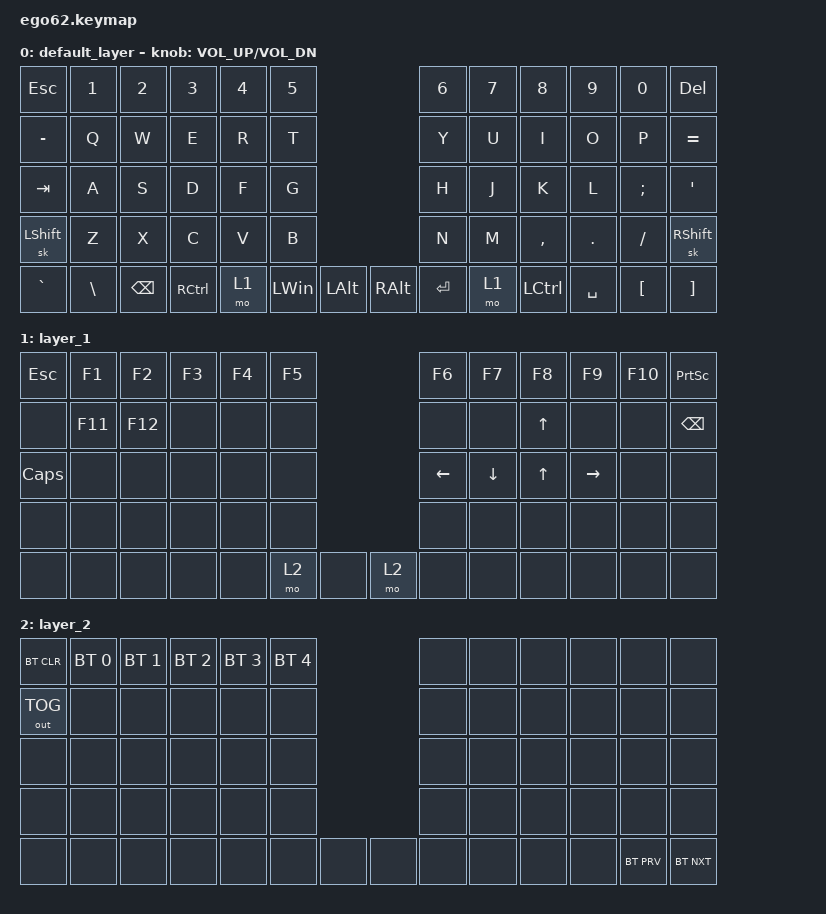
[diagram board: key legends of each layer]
/*
 * Copyright (c) 2020 The ZMK Contributors
 *
 * SPDX-License-Identifier: MIT
 */

#include <behaviors.dtsi>
#include <dt-bindings/zmk/bt.h>
#include <dt-bindings/zmk/keys.h>
#include <dt-bindings/zmk/outputs.h>

/ {
    combos {
        compatible = "zmk,combos";

        esc {
            bindings = <&kp ESCAPE>;
            key-positions = <51 58>;
            layers = <0>;
        };
    };

    keymap {
        compatible = "zmk,keymap";

        default_layer {
            bindings = <
&kp ESCAPE  &kp N1         &kp N2         &kp N3             &kp N4  &kp N5                                     &kp N6     &kp N7  &kp N8            &kp N9     &kp N0         &kp DEL
&kp MINUS   &kp Q          &kp W          &kp E              &kp R   &kp T                                      &kp Y      &kp U   &kp I             &kp O      &kp P          &kp EQUAL
&kp TAB     &kp A          &kp S          &kp D              &kp F   &kp G                                      &kp H      &kp J   &kp K             &kp L      &kp SEMICOLON  &kp SQT
&sk LSHFT   &kp Z          &kp X          &kp C              &kp V   &kp B                                      &kp N      &kp M   &kp COMMA         &kp DOT    &kp FSLH       &sk RSHIFT
&kp GRAVE   &kp BACKSLASH  &kp BACKSPACE  &kp RIGHT_CONTROL  &mo 1   &kp LEFT_WIN  &kp LEFT_ALT  &kp RIGHT_ALT  &kp ENTER  &mo 1   &kp LEFT_CONTROL  &kp SPACE  &kp LBKT       &kp RBKT
            >;

            sensor-bindings = <&inc_dec_kp C_VOL_UP C_VOL_DN>;
        };

        layer_1 {
            bindings = <
&kp ESC   &kp F1   &kp F2   &kp F3  &kp F4  &kp F5                &kp F6    &kp F7          &kp F8        &kp F9     &kp F10  &kp PRINTSCREEN
&none     &kp F11  &kp F12  &none   &none   &none                 &none     &none           &kp UP        &none      &none    &kp BACKSPACE
&kp CAPS  &none    &none    &none   &none   &none                 &kp LEFT  &kp DOWN_ARROW  &kp UP_ARROW  &kp RIGHT  &none    &none
&none     &none    &none    &none   &none   &none                 &none     &none           &none         &none      &none    &none
&none     &none    &none    &none   &none   &mo 2   &none  &mo 2  &none     &none           &none         &none      &none    &none
            >;
        };

        layer_2 {
            bindings = <
&bt BT_CLR    &bt BT_SEL 0  &bt BT_SEL 1  &bt BT_SEL 2  &bt BT_SEL 3  &bt BT_SEL 4                &none  &none  &none  &none  &none       &none
&out OUT_TOG  &none         &none         &none         &none         &none                       &none  &none  &none  &none  &none       &none
&none         &none         &none         &none         &none         &none                       &none  &none  &none  &none  &none       &none
&none         &none         &none         &none         &none         &none                       &none  &none  &none  &none  &none       &none
&none         &none         &none         &none         &none         &none         &none  &none  &none  &none  &none  &none  &bt BT_PRV  &bt BT_NXT
            >;
        };
    };
};
